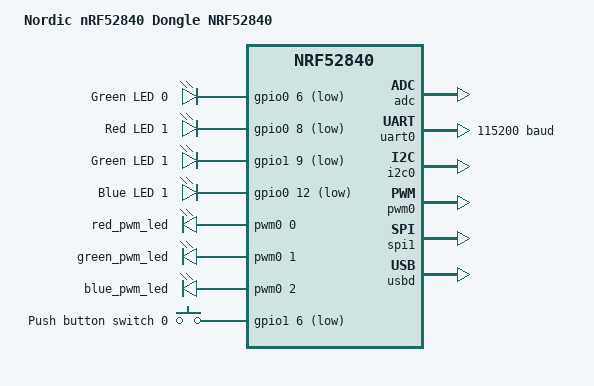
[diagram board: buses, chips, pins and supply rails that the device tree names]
/*
 * Copyright (c) 2018 Nordic Semiconductor ASA
 * Copyright (c) 2017 Linaro Limited
 *
 * SPDX-License-Identifier: Apache-2.0
 */

/dts-v1/;
#include <nordic/nrf52840_qiaa.dtsi>
#include "nrf52840dongle_nrf52840-pinctrl.dtsi"

/ {
	model = "Nordic nRF52840 Dongle NRF52840";
	compatible = "nordic,nrf52840-dongle-nrf52840";

	chosen {
		zephyr,console = &uart0;
		zephyr,shell-uart = &uart0;
		zephyr,uart-mcumgr = &uart0;
		zephyr,bt-mon-uart = &uart0;
		zephyr,bt-c2h-uart = &uart0;
		zephyr,sram = &sram0;
		zephyr,flash = &flash0;
		zephyr,code-partition = &slot0_partition;
	};

	leds {
		compatible = "gpio-leds";
		led0_green: led_0 {
			gpios = <&gpio0 6 GPIO_ACTIVE_LOW>;
			label = "Green LED 0";
		};
		led1_red: led_1 {
			gpios = <&gpio0 8 GPIO_ACTIVE_LOW>;
			label = "Red LED 1";
		};
		led1_green: led_2 {
			gpios = <&gpio1 9 GPIO_ACTIVE_LOW>;
			label = "Green LED 1";
		};
		led1_blue: led_3 {
			gpios = <&gpio0 12 GPIO_ACTIVE_LOW>;
			label = "Blue LED 1";
		};
	};

	pwmleds {
		compatible = "pwm-leds";
		red_pwm_led: pwm_led_0 {
			pwms = <&pwm0 0 PWM_MSEC(20) PWM_POLARITY_INVERTED>;
		};
		green_pwm_led: pwm_led_1 {
			pwms = <&pwm0 1 PWM_MSEC(20) PWM_POLARITY_INVERTED>;
		};
		blue_pwm_led: pwm_led_2 {
			pwms = <&pwm0 2 PWM_MSEC(20) PWM_POLARITY_INVERTED>;
		};
	};

	buttons {
		compatible = "gpio-keys";
		button0: button_0 {
			gpios = <&gpio1 6 (GPIO_PULL_UP | GPIO_ACTIVE_LOW)>;
			label = "Push button switch 0";
		};
	};

	/* These aliases are provided for compatibility with samples */
	aliases {
		sw0 = &button0;
		led0 = &led0_green;
		led1 = &led1_red;
		led2 = &led1_green;
		led3 = &led1_blue;
		led0-green = &led0_green;
		led1-red   = &led1_red;
		led1-green = &led1_green;
		led1-blue  = &led1_blue;
		pwm-led0 = &red_pwm_led;
		pwm-led1 = &green_pwm_led;
		pwm-led2 = &blue_pwm_led;
		red-pwm-led = &red_pwm_led;
		green-pwm-led = &green_pwm_led;
		blue-pwm-led = &blue_pwm_led;
		mcuboot-button0 = &button0;
		mcuboot-led0 = &led0_green;
		watchdog0 = &wdt0;
	};
};

&adc {
	status = "okay";
};

&gpiote {
	status = "okay";
};

&gpio0 {
	status = "okay";
};

&gpio1 {
	status = "okay";
};

&uart0 {
	compatible = "nordic,nrf-uarte";
	status = "okay";
	current-speed = <115200>;
	pinctrl-0 = <&uart0_default>;
	pinctrl-1 = <&uart0_sleep>;
	pinctrl-names = "default", "sleep";
};

&i2c0 {
	compatible = "nordic,nrf-twi";
	status = "okay";
	pinctrl-0 = <&i2c0_default>;
	pinctrl-1 = <&i2c0_sleep>;
	pinctrl-names = "default", "sleep";
};

&i2c1 {
	compatible = "nordic,nrf-twi";
	/* Cannot be used together with spi1. */
	/* status = "okay"; */
	pinctrl-0 = <&i2c1_default>;
	pinctrl-1 = <&i2c1_sleep>;
	pinctrl-names = "default", "sleep";
};

&pwm0 {
	status = "okay";
	pinctrl-0 = <&pwm0_default>;
	pinctrl-1 = <&pwm0_sleep>;
	pinctrl-names = "default", "sleep";
};

/*
 * By default, not adding all available SPI instances (spi2, spi3) due to
 * limited GPIOs available on dongle board.
 */
&spi0 {
	compatible = "nordic,nrf-spi";
	/* Cannot be used together with i2c0. */
	/* status = "okay"; */
	pinctrl-0 = <&spi0_default>;
	pinctrl-1 = <&spi0_sleep>;
	pinctrl-names = "default", "sleep";
};

&spi1 {
	compatible = "nordic,nrf-spi";
	status = "okay";
	pinctrl-0 = <&spi1_default>;
	pinctrl-1 = <&spi1_sleep>;
	pinctrl-names = "default", "sleep";
};

/* Include flash partition table.
 * Two partition tables are available:
 * fstab-stock		-compatible with Nordic nRF5 bootloader, default
 * fstab-debugger	-to use an external debugger, w/o the nRF5 bootloader
 */
#include "fstab-stock.dts"

zephyr_udc0: &usbd {
	compatible = "nordic,nrf-usbd";
	status = "okay";
};
